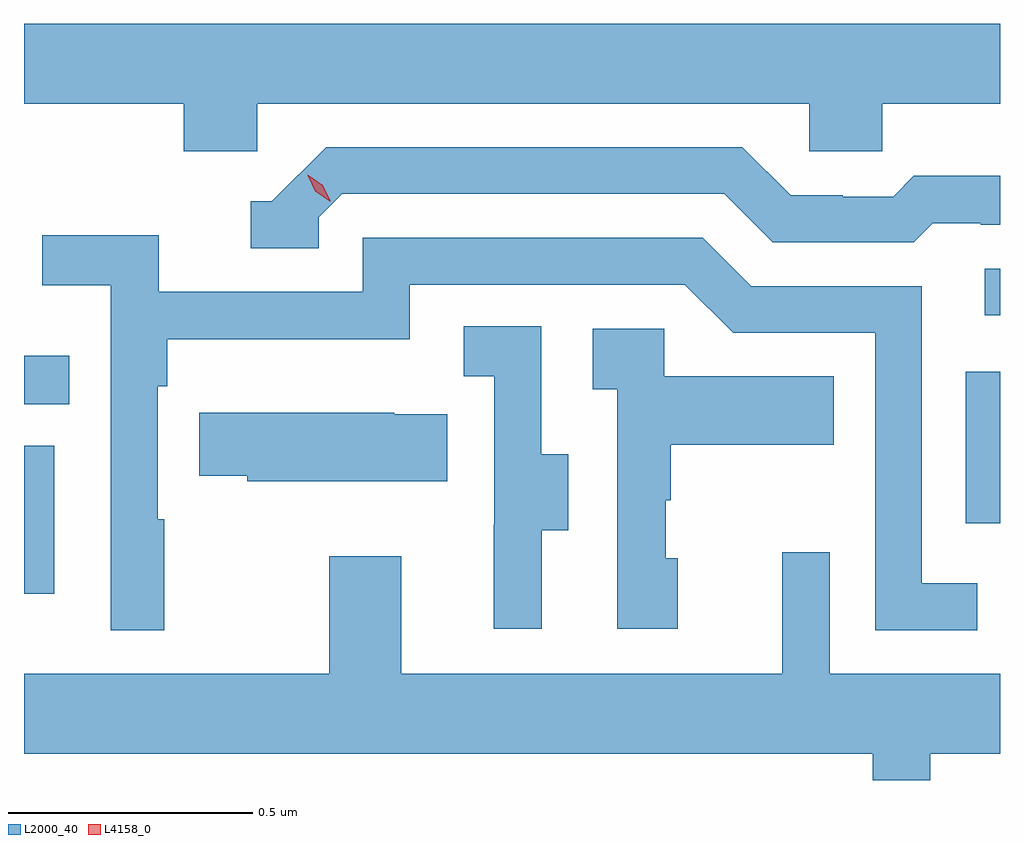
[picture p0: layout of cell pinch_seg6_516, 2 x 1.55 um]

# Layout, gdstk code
import gdstk
lib = gdstk.Library(unit=1e-6, precision=1e-09)
def R(c, l, rs):  # rectangles x0, y0, x1, y1
    for r in rs: c.add(gdstk.rectangle(r[:2], r[2:], *l))
def P(c, l, *ps):  # polygons
    for p in ps: c.add(gdstk.Polygon(p, *l))
L2000_40 = (2000, 40)
L4158_0 = (4158, 0)

pinch_seg6_516 = lib.new_cell('pinch_seg6_516')
R(pinch_seg6_516, L2000_40, [(855.62,918.36,855.682,918.663), (857.55,918.504,857.62,918.814), (855.62,918.748,855.713,918.847), (857.589,918.93,857.62,919.026)])
P(pinch_seg6_516, L2000_40, [(856.098,919.364),(857.229,919.364),(857.229,919.266),(857.379,919.266),(857.379,919.364),(857.62,919.364),(857.62,919.528),(855.62,919.528),(855.62,919.364),(855.947,919.364),(855.947,919.266),(856.098,919.266)],
  [(856.224,919.131),(856.272,919.179),(857.055,919.179),(857.154,919.08),(857.443,919.08),(857.482,919.119),(857.581,919.119),(857.581,919.116),(857.62,919.116),(857.62,919.216),(857.443,919.216),(857.401,919.173),(857.298,919.173),(857.298,919.176),(857.191,919.176),(857.092,919.275),(856.239,919.275),(856.128,919.164),(856.085,919.164),(856.085,919.068),(856.224,919.068)],
  [(855.907,918.512),(855.894,918.512),(855.894,918.785),(855.914,918.785),(855.914,918.881),(856.41,918.881),(856.41,918.993),(856.974,918.993),(857.073,918.894),(857.364,918.894),(857.364,918.285),(857.573,918.285),(857.573,918.381),(857.46,918.381),(857.46,918.99),(857.11,918.99),(857.011,919.089),(856.314,919.089),(856.314,918.978),(855.896,918.978),(855.896,919.094),(855.657,919.094),(855.657,918.992),(855.798,918.992),(855.798,918.285),(855.907,918.285)],
  [(856.681,918.49),(856.735,918.49),(856.735,918.645),(856.68,918.645),(856.68,918.908),(856.521,918.908),(856.521,918.805),(856.584,918.805),(856.584,918.501),(856.583,918.501),(856.583,918.288),(856.681,918.288)],
  [(856.96,918.432),(856.935,918.432),(856.935,918.551),(856.945,918.551),(856.945,918.665),(857.279,918.665),(857.279,918.805),(856.932,918.805),(856.932,918.903),(856.785,918.903),(856.785,918.779),(856.836,918.779),(856.836,918.288),(856.96,918.288)],
  [(856.487,918.727),(856.379,918.727),(856.379,918.73),(855.979,918.73),(855.979,918.601),(856.077,918.601),(856.077,918.59),(856.487,918.59)],
  [(857.477,918.032),(857.62,918.032),(857.62,918.196),(857.271,918.196),(857.271,918.445),(857.174,918.445),(857.174,918.196),(856.393,918.196),(856.393,918.436),(856.246,918.436),(856.246,918.196),(855.62,918.196),(855.62,918.032),(857.359,918.032),(857.359,917.977),(857.477,917.977)])
P(pinch_seg6_516, L4158_0, [(856.247,919.164),(856.217,919.184),(856.201,919.217),(856.201,919.218),(856.201,919.218),(856.232,919.197),(856.248,919.165),(856.248,919.164)])

lib.write_gds('pinch_seg6_516.gds')
